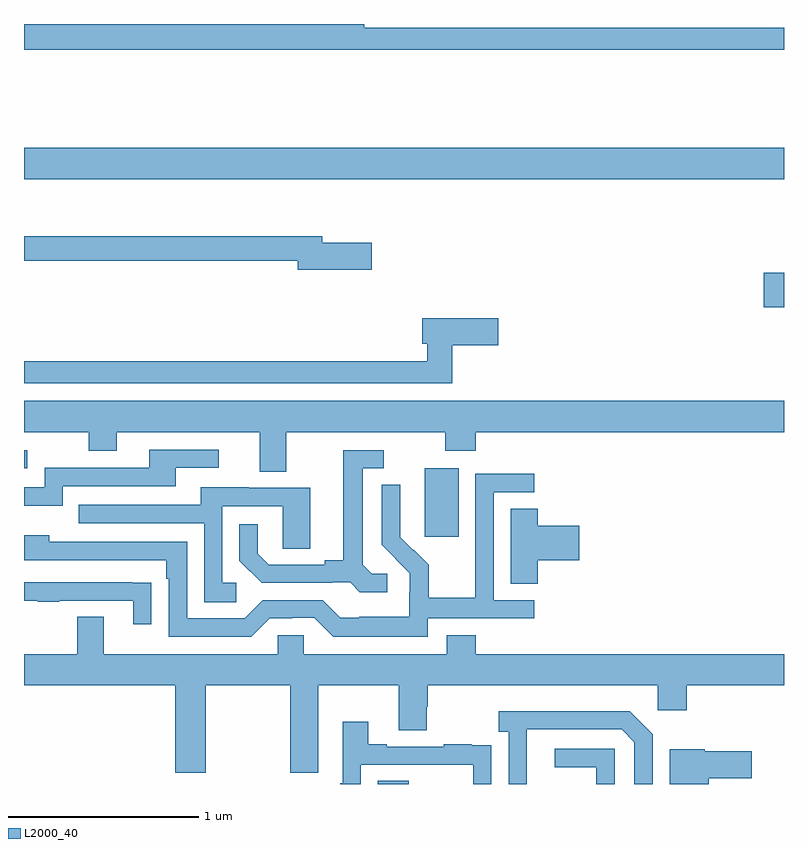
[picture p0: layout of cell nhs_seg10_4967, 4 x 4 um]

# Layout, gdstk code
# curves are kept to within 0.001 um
import gdstk
lib = gdstk.Library(unit=1e-6, precision=1e-09)
def R(c, l, rs):  # rectangles x0, y0, x1, y1
    for r in rs: c.add(gdstk.rectangle(r[:2], r[2:], *l))
def P(c, l, *ps):  # polygons
    for p in ps: c.add(gdstk.Polygon(p, *l))
L2000_40 = (2000, 40)

nhs_seg10_4967 = lib.new_cell('nhs_seg10_4967')
R(nhs_seg10_4967, L2000_40, [(400.862,1262.5,401.026,1262.516), (401.108,1263.801,401.287,1264.162), (399,1264.161,399.016,1264.257), (402.894,1265.009,403,1265.192), (399,1265.684,403,1265.848)])
P(nhs_seg10_4967, L2000_40, [(403,1266.48),(400.79,1266.48),(400.79,1266.5),(399,1266.5),(399,1266.364),(403,1266.364)],
  [(400.831,1265.349),(400.57,1265.349),(400.57,1265.383),(399,1265.383),(399,1265.254),(400.442,1265.254),(400.442,1265.207),(400.831,1265.207)],
  [(401.255,1264.81),(401.497,1264.81),(401.497,1264.952),(401.096,1264.952),(401.096,1264.817),(401.123,1264.817),(401.123,1264.724),(399,1264.724),(399,1264.608),(401.255,1264.608)],
  [(400.381,1264.352),(401.218,1264.352),(401.218,1264.253),(401.378,1264.253),(401.378,1264.352),(403,1264.352),(403,1264.516),(399,1264.516),(399,1264.352),(399.34,1264.352),(399.34,1264.253),(399.487,1264.253),(399.487,1264.352),(400.241,1264.352),(400.241,1264.144),(400.381,1264.144)],
  [(399.204,1264.068),(399.799,1264.068),(399.799,1264.164),(400.024,1264.164),(400.024,1264.26),(399.659,1264.26),(399.659,1264.164),(399.108,1264.164),(399.108,1264.062),(399,1264.062),(399,1263.965),(399.204,1263.965)],
  [(400.912,1263.606),(400.83,1263.606),(400.783,1263.653),(400.783,1264.161),(400.894,1264.161),(400.894,1264.257),(400.679,1264.257),(400.679,1263.677),(400.583,1263.677),(400.583,1263.654),(400.288,1263.654),(400.231,1263.711),(400.231,1263.868),(400.134,1263.868),(400.134,1263.674),(400.25,1263.558),(400.622,1263.558),(400.622,1263.561),(400.716,1263.561),(400.768,1263.509),(400.912,1263.509)],
  [(401.124,1263.372),(401.686,1263.372),(401.686,1263.468),(401.472,1263.468),(401.472,1264.035),(401.686,1264.035),(401.686,1264.134),(401.376,1264.134),(401.376,1263.704),(401.374,1263.704),(401.374,1263.481),(401.129,1263.481),(401.129,1263.655),(401.052,1263.732),(401.049,1263.729),(400.979,1263.8),(400.98,1264.076),(400.884,1264.076),(400.884,1263.758),(401.03,1263.61),(401.03,1263.513),(401.028,1263.513),(401.028,1263.379),(400.765,1263.379),(400.765,1263.375),(400.665,1263.375),(400.572,1263.468),(400.257,1263.468),(400.161,1263.372),(399.858,1263.372),(399.858,1263.774),(399.134,1263.774),(399.134,1263.808),(399,1263.808),(399,1263.678),(399.749,1263.678),(399.749,1263.581),(399.762,1263.581),(399.762,1263.276),(400.197,1263.276),(400.293,1263.372),(400.412,1263.372),(400.412,1263.375),(400.527,1263.375),(400.627,1263.275),(401.124,1263.275)],
  [(400.117,1263.558),(400.044,1263.558),(400.044,1263.963),(400.362,1263.963),(400.362,1263.739),(400.507,1263.739),(400.507,1264.059),(400.183,1264.059),(400.183,1264.063),(399.929,1264.063),(399.929,1263.969),(399.289,1263.969),(399.289,1263.873),(399.948,1263.873),(399.948,1263.457),(400.117,1263.457)],
  [(401.705,1263.677),(401.923,1263.677),(401.923,1263.86),(401.705,1263.86),(401.705,1263.95),(401.561,1263.95),(401.561,1263.553),(401.705,1263.553)],
  [(399.671,1263.56),(399.569,1263.56),(399.569,1263.561),(399,1263.561),(399,1263.465),(399.073,1263.465),(399.073,1263.46),(399.185,1263.46),(399.185,1263.465),(399.575,1263.465),(399.575,1263.342),(399.671,1263.342)],
  [(401.378,1263.283),(401.225,1263.283),(401.225,1263.184),(400.473,1263.184),(400.473,1263.282),(400.335,1263.282),(400.335,1263.184),(399.421,1263.184),(399.421,1263.379),(399.281,1263.379),(399.281,1263.184),(399,1263.184),(399,1263.02),(399.797,1263.02),(399.797,1262.559),(399.957,1262.559),(399.957,1263.02),(400.402,1263.02),(400.402,1262.559),(400.549,1262.559),(400.549,1263.02),(400.973,1263.02),(400.973,1262.782),(401.121,1262.782),(401.121,1262.907),(401.126,1262.907),(401.126,1263.02),(402.336,1263.02),(402.336,1262.889),(402.488,1262.889),(402.488,1263.02),(403,1263.02),(403,1263.184),(401.378,1263.184)],
  [(401.646,1262.587),(401.647,1262.787),(402.147,1262.787),(402.213,1262.721),(402.213,1262.5),(402.309,1262.5),(402.309,1262.763),(402.188,1262.884),(401.499,1262.884),(401.499,1262.774),(401.55,1262.774),(401.55,1262.5),(401.646,1262.5)],
  [(400.773,1262.601),(401.364,1262.601),(401.364,1262.5),(401.46,1262.5),(401.46,1262.594),(401.459,1262.594),(401.459,1262.703),(401.357,1262.703),(401.357,1262.71),(401.209,1262.71),(401.209,1262.697),(400.909,1262.697),(400.909,1262.71),(400.813,1262.71),(400.813,1262.827),(400.677,1262.827),(400.677,1262.504),(400.665,1262.504),(400.665,1262.5),(400.773,1262.5)],
  [(402.108,1262.685),(401.793,1262.685),(401.793,1262.589),(402.012,1262.589),(402.012,1262.5),(402.108,1262.5)],
  [(402.605,1262.531),(402.829,1262.531),(402.829,1262.673),(402.582,1262.673),(402.582,1262.683),(402.398,1262.683),(402.398,1262.5),(402.605,1262.5)])

lib.write_gds('nhs_seg10_4967.gds')
